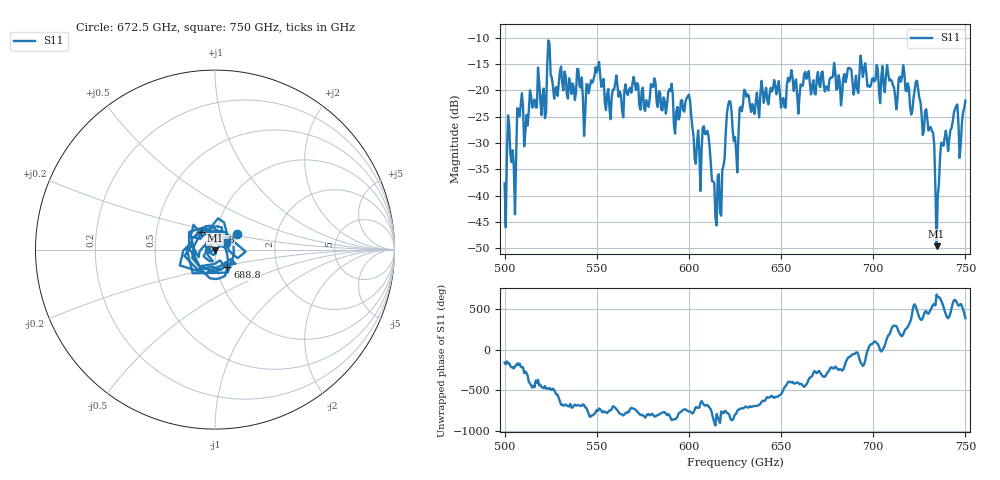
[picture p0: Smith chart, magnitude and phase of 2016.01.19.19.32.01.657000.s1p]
!Created with skrf (http://scikit-rf.org).
# GHz S RI R 50.0
!freq ReS11 ImS11
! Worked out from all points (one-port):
!   401 points, 500 GHz to 750 GHz, reference 50 ohm
!   lowest |S11| = -49.6 dB at 734.4 GHz (marker M1), VSWR 1.01, Z = 50.3 - j0.191 ohm
!   |S11| at or under -10 dB: start of sweep to end of sweep
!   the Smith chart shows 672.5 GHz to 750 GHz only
!   S11 on the Smith chart (normalised r, x): 672.5 GHz: 1.26, +0.23; 688.8 GHz: 1.12, -0.22; 723.8 GHz: 0.84, +0.17; 750 GHz: 1.14, +0.10
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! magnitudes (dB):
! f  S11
! 500 GHz  -37.7
! 502.5 GHz  -26.6
! 505 GHz  -34.5
! 508.1 GHz  -24.9
! 521.2 GHz  -19.6
! 524.4 GHz  -11.1
! 527.5 GHz  -19.7
! 531.2 GHz  -18.5
! 562.5 GHz  -20.2
! 590 GHz  -20.1
! 593.8 GHz  -23.1
! 599.4 GHz  -21.2
! 605 GHz  -27.6
! 609.4 GHz  -28.2
! 615.6 GHz  -36.3
! 621.9 GHz  -22.0
! 625 GHz  -28.8
! 631.2 GHz  -21.2
! 656.2 GHz  -17.6
! 672.5 GHz  -16.4
! 687.5 GHz  -15.8
! 688.8 GHz  -18.4
! 718.8 GHz  -18.6
! 723.8 GHz  -18.1
! 731.9 GHz  -27.7
! 734.4 GHz  -49.6
! 738.1 GHz  -30.5
! 750 GHz  -21.9
